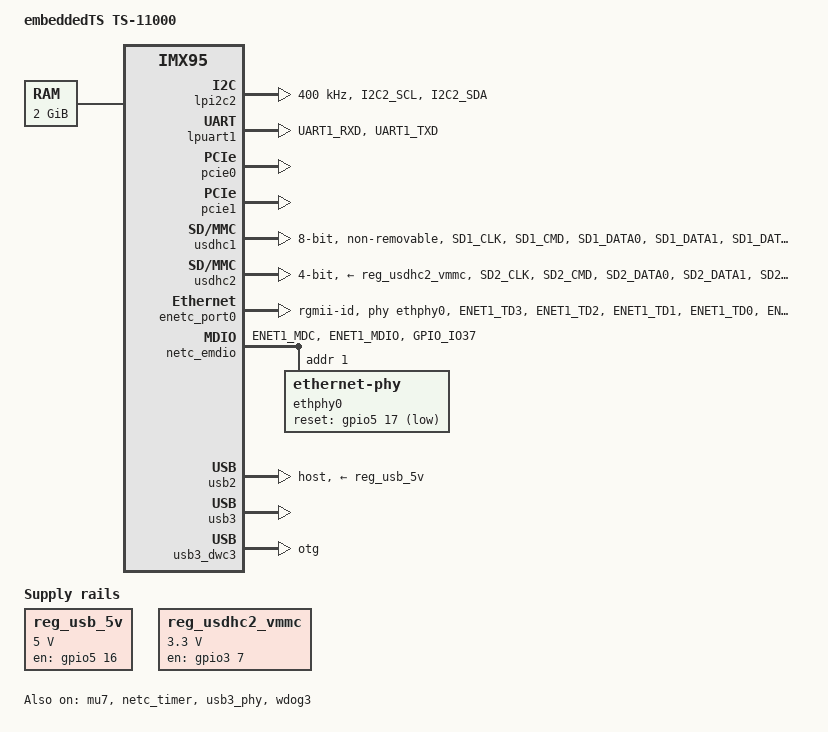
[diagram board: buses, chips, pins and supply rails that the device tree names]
// SPDX-License-Identifier: (GPL-2.0+ OR MIT)
/*
 * Copyright 2024 NXP
 */

/dts-v1/;

#include <dt-bindings/pwm/pwm.h>
#include <dt-bindings/phy/phy-imx8-pcie.h>
#include <dt-bindings/usb/pd.h>
#include "imx95.dtsi"

/ {
	model = "embeddedTS TS-11000";
	compatible = "fsl,ts11000", "fsl,imx95";

	aliases {
		mmc0 = &usdhc1;
		mmc1 = &usdhc2;
		serial0 = &lpuart1;
		ethernet0 = &enetc_port0;
	};

	chosen {
		stdout-path = &lpuart1;
		#address-cells = <2>;
		#size-cells = <2>;
		/* will be updated by U-boot when booting Xen */
		module@0 {
			bootargs = "earlycon=xen console=hvc0 loglevel=8 root=/dev/mmcblk1p2 rw rootwait";
			compatible = "xen,linux-zimage", "xen,multiboot-module";
			reg = <0x00000000 0x9e000000 0x00000000 0x2000000>;
		};
	};

	memory@80000000 {
		device_type = "memory";
		reg = <0x0 0x80000000 0 0x80000000>;
	};

	reserved-memory {
		#address-cells = <2>;
		#size-cells = <2>;
		ranges;

		linux_cma: linux,cma {
			compatible = "shared-dma-pool";
			alloc-ranges = <0 0x80000000 0 0x7f000000>;
			size = <0 0x3c000000>;
			linux,cma-default;
			reusable;
		};

		vpu_boot: vpu_boot@a0000000 {
			reg = <0 0xa0000000 0 0x100000>;
			no-map;
		};

		vdev0vring0: vdev0vring0@88000000 {
			reg = <0 0x88000000 0 0x8000>;
			no-map;
		};

		vdev0vring1: vdev0vring1@88008000 {
			reg = <0 0x88008000 0 0x8000>;
			no-map;
		};

		vdev1vring0: vdev1vring0@88010000 {
			reg = <0 0x88010000 0 0x8000>;
			no-map;
		};

		vdev1vring1: vdev1vring1@88018000 {
			reg = <0 0x88018000 0 0x8000>;
			no-map;
		};

		rsc_table: rsc-table@88220000 {
			reg = <0 0x88220000 0 0x1000>;
			no-map;
		};

		vdevbuffer: vdevbuffer@88020000 {
			compatible = "shared-dma-pool";
			reg = <0 0x88020000 0 0x100000>;
			no-map;
		};
	};

	reg_usb_5v: regulator-usb-5v-pwr {
		compatible = "regulator-fixed";
		regulator-name = "EN_HOST_USB_5V";
		pinctrl-names = "default";
		pinctrl-0 = <&pinctrl_en_usb_5v>;
		regulator-min-microvolt = <5000000>;
		regulator-max-microvolt = <5000000>;
		gpio = <&gpio5 16 GPIO_ACTIVE_HIGH>;
		enable-active-high;
	};

	reg_usdhc2_vmmc: regulator-usdhc2 {
		compatible = "regulator-fixed";
		pinctrl-names = "default";
		pinctrl-0 = <&pinctrl_reg_usdhc2_vmmc>;
		regulator-name = "VDD_SD2_3V3";
		regulator-min-microvolt = <3300000>;
		regulator-max-microvolt = <3300000>;
		gpio = <&gpio3 7 GPIO_ACTIVE_HIGH>;
		enable-active-high;
		off-on-delay-us = <12000>;
	};

	cm7: imx95-cm7 {
		compatible = "fsl,imx95-cm7";
		mbox-names = "tx", "rx", "rxdb";
		mboxes = <&mu7 0 1
			  &mu7 1 1
			  &mu7 3 1>;
		memory-region = <&vdevbuffer>, <&vdev0vring0>, <&vdev0vring1>,
				<&vdev1vring0>, <&vdev1vring1>, <&rsc_table>;
		/* cpuid and lmmid must align with SM firmware */
		fsl,cpu-id = <1>;
		fsl,lmm-id = <1>;
		fsl,startup-delay-ms = <50>;
		status = "okay";
	};
};

&lpi2c2 {
	clock-frequency = <400000>;
	pinctrl-names = "default";
	pinctrl-0 = <&pinctrl_lpi2c2>;
	status = "okay";
};

&lpuart1 {
	/* console */
	pinctrl-names = "default";
	pinctrl-0 = <&pinctrl_uart1>;
	status = "okay";
};

&mu7 {
	status = "okay";
};

&pcie0 {
	status = "okay";
};

&pcie1 {
	status = "okay";
};

&pcie1_ep {
	status = "disabled";
};

&usdhc1 {
	pinctrl-names = "default", "state_100mhz", "state_200mhz", "sleep";
	pinctrl-0 = <&pinctrl_usdhc1>;
	pinctrl-1 = <&pinctrl_usdhc1_100mhz>;
	pinctrl-2 = <&pinctrl_usdhc1_200mhz>;
	pinctrl-3 = <&pinctrl_usdhc1>;
	bus-width = <8>;
	non-removable;
	no-sdio;
	no-sd;
	status = "okay";
};

&usdhc2 {
	pinctrl-names = "default", "state_100mhz", "state_200mhz", "sleep";
	pinctrl-0 = <&pinctrl_usdhc2>, <&pinctrl_usdhc2_gpio>;
	pinctrl-1 = <&pinctrl_usdhc2_100mhz>, <&pinctrl_usdhc2_gpio>;
	pinctrl-2 = <&pinctrl_usdhc2_200mhz>, <&pinctrl_usdhc2_gpio>;
	pinctrl-3 = <&pinctrl_usdhc2>, <&pinctrl_usdhc2_gpio>;
	cd-gpios = <&gpio3 0 GPIO_ACTIVE_LOW>;
	fsl,cd-gpio-wakeup-disable;
	vmmc-supply = <&reg_usdhc2_vmmc>;
	bus-width = <4>;
	status = "okay";
};

&enetc_port0 {
	pinctrl-names = "default";
	pinctrl-0 = <&pinctrl_enetc0>;
	phy-handle = <&ethphy0>;
	phy-mode = "rgmii-id";
	status = "okay";
};

&netc_timer {
	status = "okay";
};

&netc_emdio {
	pinctrl-names = "default";
	pinctrl-0 = <&pinctrl_emdio>;
	status = "okay";

	ethphy0: ethernet-phy@1 {
		reg = <1>;
		eee-broken-1000t;
		reset-gpios = <&gpio5 17 GPIO_ACTIVE_LOW>;
		reset-assert-us = <10000>;
		reset-deassert-us = <80000>;
	};
};

&usb2 {
	dr_mode = "host";
	vbus-supply = <&reg_usb_5v>;
	disable-over-current;
	status = "okay";
};

&usb3 {
	status = "okay";
};

&usb3_phy {
	fsl,phy-pcs-tx-deemph-3p5db-attenuation-db = <17>;
	fsl,phy-pcs-tx-swing-full-percent = <100>;
	fsl,phy-tx-preemp-amp-tune-microamp = <600>;
	fsl,phy-tx-vboost-level-microvolt = <1156>;
	status = "okay";
};

&usb3_dwc3 {
	dr_mode = "otg";
	hnp-disable;
	srp-disable;
	adp-disable;
	usb-role-switch;
	role-switch-default-mode = "none";
	snps,dis-u1-entry-quirk;
	snps,dis-u2-entry-quirk;
	status = "okay";
};

&wdog3 {
	fsl,ext-reset-output;
	status = "okay";
};

&scmi_iomuxc {
	pinctrl_xspi: xspigrp {
		fsl,pins = <
			IMX95_PAD_XSPI1_SS0_B__XSPI_CS				0x3fe
			IMX95_PAD_XSPI1_SS1_B__GPIO5_IO_BIT11			0x3fe
			IMX95_PAD_XSPI1_SCLK__XSPI_CLK				0x3fe
			IMX95_PAD_XSPI1_DATA0__XSPI_DATA_BIT0			0x3fe
			IMX95_PAD_XSPI1_DATA1__XSPI_DATA_BIT1			0x3fe
			IMX95_PAD_XSPI1_DATA2__XSPI_DATA_BIT2			0x3fe
			IMX95_PAD_XSPI1_DATA3__XSPI_DATA_BIT3			0x3fe
			IMX95_PAD_XSPI1_DATA4__XSPI_DATA_BIT4			0x3fe
			IMX95_PAD_XSPI1_DATA5__XSPI_DATA_BIT5			0x3fe
			IMX95_PAD_XSPI1_DATA6__XSPI_DATA_BIT6			0x3fe
			IMX95_PAD_XSPI1_DATA7__XSPI_DATA_BIT7			0x3fe
			IMX95_PAD_XSPI1_DQS__XSPI_DQS				0x3fe
		>;
	};

	pinctrl_flexspi1: flexspi1grp {
		fsl,pins = <
			IMX95_PAD_SD3_CLK__FLEXSPI1_A_SCLK			0x3fe
			IMX95_PAD_SD3_CMD__FLEXSPI1_A_SS0_B			0x3fe
			IMX95_PAD_SD3_DATA0__FLEXSPI1_A_DATA_BIT0		0x3fe
			IMX95_PAD_SD3_DATA1__FLEXSPI1_A_DATA_BIT1		0x3fe
			IMX95_PAD_SD3_DATA2__FLEXSPI1_A_DATA_BIT2		0x3fe
			IMX95_PAD_SD3_DATA3__FLEXSPI1_A_DATA_BIT3		0x3fe
		>;
	};

	pinctrl_fpga_irqc: fpgairqcgrp {
		fsl,pins = <
			IMX95_PAD_CCM_CLKO3__GPIO4_IO_BIT28			0x31e
		>;
	};

	pinctrl_lpi2c1: lpi2c1grp {
		fsl,pins = <
			IMX95_PAD_I2C1_SCL__AONMIX_TOP_LPI2C1_SCL	0x40000b9e
			IMX95_PAD_I2C1_SDA__AONMIX_TOP_LPI2C1_SDA	0x40000b9e
		>;
	};

	pinctrl_lpi2c2: lpi2c2grp {
		fsl,pins = <
			IMX95_PAD_I2C2_SCL__AONMIX_TOP_LPI2C2_SCL	0x40000b9e
			IMX95_PAD_I2C2_SDA__AONMIX_TOP_LPI2C2_SDA	0x40000b9e
		>;
	};

	pinctrl_pcie0: pcie0grp {
		fsl,pins = <
			IMX95_PAD_GPIO_IO32__HSIOMIX_TOP_PCIE1_CLKREQ_B		0x4000031e
		>;
	};

	pinctrl_pcie1: pcie1grp {
		fsl,pins = <
			IMX95_PAD_GPIO_IO35__HSIOMIX_TOP_PCIE2_CLKREQ_B		0x4000031e
		>;
	};

	pinctrl_uart1: uart1grp {
		fsl,pins = <
			IMX95_PAD_UART1_RXD__AONMIX_TOP_LPUART1_RX      0x31e
			IMX95_PAD_UART1_TXD__AONMIX_TOP_LPUART1_TX      0x31e
		>;
	};

	pinctrl_uart5: uart5grp {
		fsl,pins = <
			IMX95_PAD_DAP_TDO_TRACESWO__LPUART5_TX			0x31e
			IMX95_PAD_DAP_TDI__LPUART5_RX				0x31e
			IMX95_PAD_DAP_TMS_SWDIO__LPUART5_RTS_B			0x31e
			IMX95_PAD_DAP_TCLK_SWCLK__LPUART5_CTS_B			0x31e
		>;
	};

	pinctrl_en_usb_5v: usb5vengrp {
		fsl,pins = <
			IMX95_PAD_GPIO_IO36__GPIO5_IO_BIT16			0x31e
		>;
	};

	pinctrl_emdio: emdiogrp{
		fsl,pins = <
			IMX95_PAD_ENET1_MDC__NETCMIX_TOP_NETC_MDC		0x50e
			IMX95_PAD_ENET1_MDIO__NETCMIX_TOP_NETC_MDIO		0x90e
			IMX95_PAD_GPIO_IO37__GPIO5_IO_BIT17             0x50e
		>;
	};

	pinctrl_enetc0: enetc0grp {
		fsl,pins = <
			IMX95_PAD_ENET1_TD3__NETCMIX_TOP_ETH0_RGMII_TD3		0x50e
			IMX95_PAD_ENET1_TD2__NETCMIX_TOP_ETH0_RGMII_TD2		0x50e
			IMX95_PAD_ENET1_TD1__NETCMIX_TOP_ETH0_RGMII_TD1		0x50e
			IMX95_PAD_ENET1_TD0__NETCMIX_TOP_ETH0_RGMII_TD0		0x50e
			IMX95_PAD_ENET1_TX_CTL__NETCMIX_TOP_ETH0_RGMII_TX_CTL	0x57e
			IMX95_PAD_ENET1_TXC__NETCMIX_TOP_ETH0_RGMII_TX_CLK	0x58e
			IMX95_PAD_ENET1_RX_CTL__NETCMIX_TOP_ETH0_RGMII_RX_CTL	0x57e
			IMX95_PAD_ENET1_RXC__NETCMIX_TOP_ETH0_RGMII_RX_CLK	0x58e
			IMX95_PAD_ENET1_RD0__NETCMIX_TOP_ETH0_RGMII_RD0		0x57e
			IMX95_PAD_ENET1_RD1__NETCMIX_TOP_ETH0_RGMII_RD1		0x57e
			IMX95_PAD_ENET1_RD2__NETCMIX_TOP_ETH0_RGMII_RD2		0x57e
			IMX95_PAD_ENET1_RD3__NETCMIX_TOP_ETH0_RGMII_RD3		0x57e
		>;
	};

	pinctrl_usdhc1: usdhc1grp {
		fsl,pins = <
			IMX95_PAD_SD1_CLK__USDHC1_CLK			0x158e
			IMX95_PAD_SD1_CMD__USDHC1_CMD			0x138e
			IMX95_PAD_SD1_DATA0__USDHC1_DATA0		0x138e
			IMX95_PAD_SD1_DATA1__USDHC1_DATA1		0x138e
			IMX95_PAD_SD1_DATA2__USDHC1_DATA2		0x138e
			IMX95_PAD_SD1_DATA3__USDHC1_DATA3		0x138e
			IMX95_PAD_SD1_DATA4__USDHC1_DATA4		0x138e
			IMX95_PAD_SD1_DATA5__USDHC1_DATA5		0x138e
			IMX95_PAD_SD1_DATA6__USDHC1_DATA6		0x138e
			IMX95_PAD_SD1_DATA7__USDHC1_DATA7		0x138e
			IMX95_PAD_SD1_STROBE__USDHC1_STROBE		0x158e
		>;
	};

	pinctrl_usdhc1_100mhz: usdhc1-100mhzgrp {
		fsl,pins = <
			IMX95_PAD_SD1_CLK__USDHC1_CLK			0x158e
			IMX95_PAD_SD1_CMD__USDHC1_CMD			0x138e
			IMX95_PAD_SD1_DATA0__USDHC1_DATA0		0x138e
			IMX95_PAD_SD1_DATA1__USDHC1_DATA1		0x138e
			IMX95_PAD_SD1_DATA2__USDHC1_DATA2		0x138e
			IMX95_PAD_SD1_DATA3__USDHC1_DATA3		0x138e
			IMX95_PAD_SD1_DATA4__USDHC1_DATA4		0x138e
			IMX95_PAD_SD1_DATA5__USDHC1_DATA5		0x138e
			IMX95_PAD_SD1_DATA6__USDHC1_DATA6		0x138e
			IMX95_PAD_SD1_DATA7__USDHC1_DATA7		0x138e
			IMX95_PAD_SD1_STROBE__USDHC1_STROBE		0x158e
		>;
	};

	pinctrl_usdhc1_200mhz: usdhc1-200mhzgrp {
		fsl,pins = <
			IMX95_PAD_SD1_CLK__USDHC1_CLK			0x15fe
			IMX95_PAD_SD1_CMD__USDHC1_CMD			0x13fe
			IMX95_PAD_SD1_DATA0__USDHC1_DATA0		0x13fe
			IMX95_PAD_SD1_DATA1__USDHC1_DATA1		0x13fe
			IMX95_PAD_SD1_DATA2__USDHC1_DATA2		0x13fe
			IMX95_PAD_SD1_DATA3__USDHC1_DATA3		0x13fe
			IMX95_PAD_SD1_DATA4__USDHC1_DATA4		0x13fe
			IMX95_PAD_SD1_DATA5__USDHC1_DATA5		0x13fe
			IMX95_PAD_SD1_DATA6__USDHC1_DATA6		0x13fe
			IMX95_PAD_SD1_DATA7__USDHC1_DATA7		0x13fe
			IMX95_PAD_SD1_STROBE__USDHC1_STROBE		0x15fe
		>;
	};

	pinctrl_reg_usdhc2_vmmc: regusdhc2vmmcgrp {
		fsl,pins = <
			IMX95_PAD_SD2_RESET_B__GPIO3_IO_BIT7		0x31e
		>;
	};

	pinctrl_usdhc2_gpio: usdhc2gpiogrp {
		fsl,pins = <
			IMX95_PAD_SD2_CD_B__GPIO3_IO_BIT0		0x31e
		>;
	};

	pinctrl_usdhc2: usdhc2grp {
		fsl,pins = <
			IMX95_PAD_SD2_CLK__USDHC2_CLK			0x158e
			IMX95_PAD_SD2_CMD__USDHC2_CMD			0x138e
			IMX95_PAD_SD2_DATA0__USDHC2_DATA0		0x138e
			IMX95_PAD_SD2_DATA1__USDHC2_DATA1		0x138e
			IMX95_PAD_SD2_DATA2__USDHC2_DATA2		0x138e
			IMX95_PAD_SD2_DATA3__USDHC2_DATA3		0x138e
			IMX95_PAD_SD2_VSELECT__USDHC2_VSELECT		0x51e
		>;
	};

	pinctrl_usdhc2_100mhz: usdhc2-100mhzgrp {
		fsl,pins = <
			IMX95_PAD_SD2_CLK__USDHC2_CLK			0x158e
			IMX95_PAD_SD2_CMD__USDHC2_CMD			0x138e
			IMX95_PAD_SD2_DATA0__USDHC2_DATA0		0x138e
			IMX95_PAD_SD2_DATA1__USDHC2_DATA1		0x138e
			IMX95_PAD_SD2_DATA2__USDHC2_DATA2		0x138e
			IMX95_PAD_SD2_DATA3__USDHC2_DATA3		0x138e
			IMX95_PAD_SD2_VSELECT__USDHC2_VSELECT		0x51e
		>;
	};

	pinctrl_usdhc2_200mhz: usdhc2-200mhzgrp {
		fsl,pins = <
			IMX95_PAD_SD2_CLK__USDHC2_CLK			0x158e
			IMX95_PAD_SD2_CMD__USDHC2_CMD			0x138e
			IMX95_PAD_SD2_DATA0__USDHC2_DATA0		0x138e
			IMX95_PAD_SD2_DATA1__USDHC2_DATA1		0x138e
			IMX95_PAD_SD2_DATA2__USDHC2_DATA2		0x138e
			IMX95_PAD_SD2_DATA3__USDHC2_DATA3		0x138e
			IMX95_PAD_SD2_VSELECT__USDHC2_VSELECT		0x51e
		>;
	};
};

&thermal_zones {
	a55-thermal {
		trips {
			atrip2: trip2 {
				temperature = <55000>;
				hysteresis = <2000>;
				type = "active";
			};

			atrip3: trip3 {
				temperature = <65000>;
				hysteresis = <2000>;
				type = "active";
			};

			atrip4: trip4 {
				temperature = <75000>;
				hysteresis = <2000>;
				type = "active";
			};
		};

		cooling-maps {
			map1 {
				trip = <&atrip2>;
				//cooling-device = <&fan0 0 1>;
			};

			map2 {
				trip = <&atrip3>;
				//cooling-device = <&fan0 1 2>;
			};

			map3 {
				trip = <&atrip4>;
				//cooling-device = <&fan0 2 3>;
			};
		};
	};

	pf09 {
		polling-delay-passive = <250>;
		polling-delay = <2000>;
		thermal-sensors = <&scmi_sensor 2>;
		trips {
			pf09_alert: trip0 {
				temperature = <140000>;
				hysteresis = <2000>;
				type = "passive";
			};

			pf09_crit: trip1 {
				temperature = <155000>;
				hysteresis = <2000>;
				type = "critical";
			};
		};
	};

	pf53_arm {
		polling-delay-passive = <250>;
		polling-delay = <2000>;
		thermal-sensors = <&scmi_sensor 4>;
		trips {
			pf5301_alert: trip0 {
				temperature = <140000>;
				hysteresis = <2000>;
				type = "passive";
			};

			pf5301_crit: trip1 {
				temperature = <155000>;
				hysteresis = <2000>;
				type = "critical";
			};
		};

		cooling-maps {
			map0 {
				trip = <&pf5301_alert>;
				cooling-device =
					<&A55_0 THERMAL_NO_LIMIT THERMAL_NO_LIMIT>,
					<&A55_1 THERMAL_NO_LIMIT THERMAL_NO_LIMIT>,
					<&A55_2 THERMAL_NO_LIMIT THERMAL_NO_LIMIT>,
					<&A55_3 THERMAL_NO_LIMIT THERMAL_NO_LIMIT>,
					<&A55_4 THERMAL_NO_LIMIT THERMAL_NO_LIMIT>,
					<&A55_5 THERMAL_NO_LIMIT THERMAL_NO_LIMIT>;
			};
		};
	};

	pf53_soc {
		polling-delay-passive = <250>;
		polling-delay = <2000>;
		thermal-sensors = <&scmi_sensor 3>;
		trips {
			pf5302_alert: trip0 {
				temperature = <140000>;
				hysteresis = <2000>;
				type = "passive";
			};

			pf5302_crit: trip1 {
				temperature = <155000>;
				hysteresis = <2000>;
				type = "critical";
			};
		};
	};
};

&vpuctrl {
	boot = <&vpu_boot>;
	sram = <&sram1>;
};
